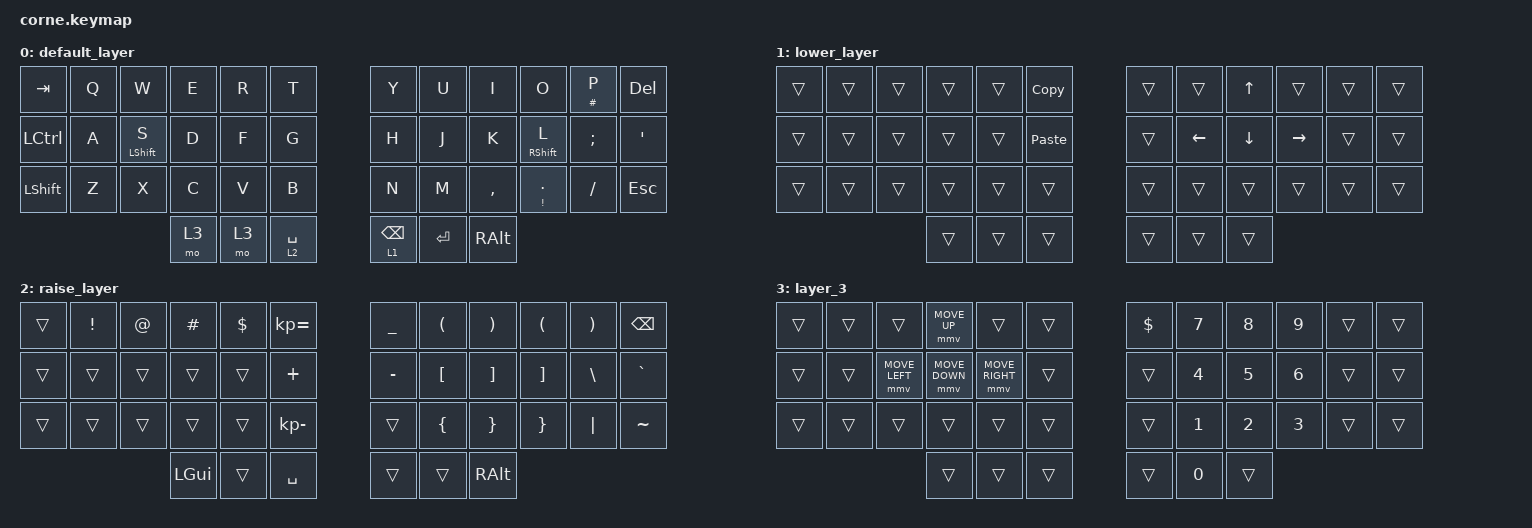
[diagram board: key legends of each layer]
/*
 * Copyright (c) 2020 The ZMK Contributors
 *
 * SPDX-License-Identifier: MIT
 */

#include <behaviors.dtsi>
#include <dt-bindings/zmk/keys.h>
#include <dt-bindings/zmk/pointing.h>

/ {
    behaviors {
        Hold_Tap: Hold_Tap {
            compatible = "zmk,behavior-hold-tap";
            label = "HOLD_TAP";
            bindings = <&mo>, <&kp>;

            #binding-cells = <2>;
            tapping-term-ms = <200>;
            flavor = "hold-preferred";
        };

        Mod_Tap: Mod_Tap {
            compatible = "zmk,behavior-hold-tap";
            label = "MOD_TAP";
            bindings = <&kp>, <&kp>;

            #binding-cells = <2>;
            tapping-term-ms = <200>;
        };
    };

    macros {
        Copy: Copy {
            compatible = "zmk,behavior-macro";
            #binding-cells = <0>;
            bindings = <&kp LC(C)>;
            label = "COPY";
        };

        Paste: Paste {
            compatible = "zmk,behavior-macro";
            #binding-cells = <0>;
            bindings = <&kp LC(V)>;
            label = "PASTE";
        };
    };

    keymap {
        compatible = "zmk,keymap";

        default_layer {
            // -----------------------------------------------------------------------------------------
            // |  TAB |  Q  |  W  |  E  |  R  |  T  |   |  Y  |  U   |  I  |  O  |  P  | BSPC |
            // | CTRL |  A  |  S  |  D  |  F  |  G  |   |  H  |  J   |  K  |  L  |  ;  |  '   |
            // | SHFT |  Z  |  X  |  C  |  V  |  B  |   |  N  |  M   |  ,  |  .  |  /  | ESC  |
            //                    | GUI | LWR | SPC |   | ENT | RSE  | ALT |

            bindings = <
&kp TAB    &kp Q  &kp W             &kp E  &kp R  &kp T                &kp Y                  &kp U      &kp I      &kp O                 &Mod_Tap POUND P  &kp DELETE
&kp LCTRL  &kp A  &mt LEFT_SHIFT S  &kp D  &kp F  &kp G                &kp H                  &kp J      &kp K      &mt RIGHT_SHIFT L     &kp SEMI          &kp SQT
&kp LSHFT  &kp Z  &kp X             &kp C  &kp V  &kp B                &kp N                  &kp M      &kp COMMA  &Mod_Tap EXCL PERIOD  &kp FSLH          &kp ESC
                                    &mo 3  &mo 3  &Hold_Tap 2 SPACE    &Hold_Tap 1 BACKSPACE  &kp ENTER  &kp RALT
            >;
        };

        lower_layer {
            // -----------------------------------------------------------------------------------------
            // |  TAB |  1  |  2  |  3  |  4  |  5  |   |  6  |  7  |  8  |  9  |  0  | BSPC |
            // | BTCLR| BT1 | BT2 | BT3 | BT4 | BT5 |   | LFT | DWN |  UP | RGT |     |      |
            // | SHFT |     |     |     |     |     |   |     |     |     |     |     |      |
            //                    | GUI |     | SPC |   | ENT |     | ALT |

            bindings = <
&trans  &trans  &trans  &trans  &trans  &Copy     &trans  &trans    &kp UP_ARROW  &trans     &trans  &trans
&trans  &trans  &trans  &trans  &trans  &Paste    &trans  &kp LEFT  &kp DOWN      &kp RIGHT  &trans  &trans
&trans  &trans  &trans  &trans  &trans  &trans    &trans  &trans    &trans        &trans     &trans  &trans
                        &trans  &trans  &trans    &trans  &trans    &trans
            >;
        };

        raise_layer {
            // -----------------------------------------------------------------------------------------
            // |  TAB |  !  |  @  |  #  |  $  |  %  |   |  ^  |  &  |  *  |  (  |  )  | BSPC |
            // | CTRL |     |     |     |     |     |   |  -  |  =  |  [  |  ]  |  \  |  `   |
            // | SHFT |     |     |     |     |     |   |  _  |  +  |  {  |  }  | "|" |  ~   |
            //                    | GUI |     | SPC |   | ENT |     | ALT |

            bindings = <
&trans  &kp EXCL  &kp AT  &kp HASH  &kp DLLR  &kp KP_EQUAL       &kp UNDER  &kp LEFT_PARENTHESIS  &kp RIGHT_PARENTHESIS  &kp LPAR  &kp RPAR  &kp BSPC
&trans  &trans    &trans  &trans    &trans    &kp PLUS           &kp MINUS  &kp LEFT_BRACKET      &kp RIGHT_BRACKET      &kp RBKT  &kp BSLH  &kp GRAVE
&trans  &trans    &trans  &trans    &trans    &kp KP_SUBTRACT    &trans     &kp LEFT_BRACE        &kp RIGHT_BRACE        &kp RBRC  &kp PIPE  &kp TILDE
                          &kp LGUI  &trans    &kp SPACE          &trans     &trans                &kp RALT
            >;
        };

        layer_3 {
            bindings = <
&trans  &trans  &trans          &mmv MOVE_UP    &trans           &trans    &kp DOLLAR  &kp N7        &kp N8        &kp N9        &trans  &trans
&trans  &trans  &mmv MOVE_LEFT  &mmv MOVE_DOWN  &mmv MOVE_RIGHT  &trans    &trans      &kp NUMBER_4  &kp N5        &kp NUMBER_6  &trans  &trans
&trans  &trans  &trans          &trans          &trans           &trans    &trans      &kp NUMBER_1  &kp NUMBER_2  &kp NUMBER_3  &trans  &trans
                                &trans          &trans           &trans    &trans      &kp N0        &trans
            >;
        };
    };
};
